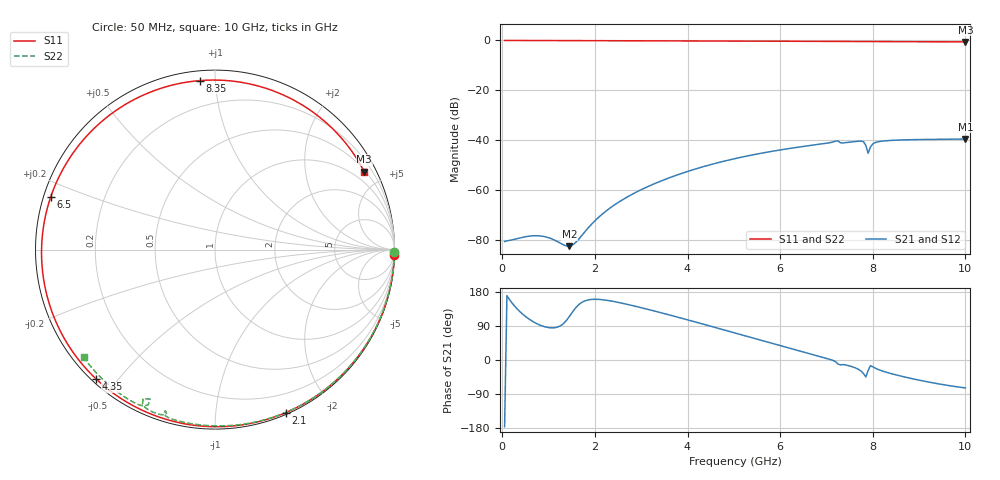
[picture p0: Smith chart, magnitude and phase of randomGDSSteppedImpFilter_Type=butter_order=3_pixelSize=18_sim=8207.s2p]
! freq	dB(S11)	phase(S11)	dB(S12)	phase(S12)
!  dB(S21)	phase(S21)	dB(S22)	phase(S22)
!S-par simulation data
#  GHz  S  DB  R 50
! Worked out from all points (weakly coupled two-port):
!   200 points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, 50 MHz to 10 GHz, reference 50 ohm
!   highest |S21| = -39.50 dB at 10 GHz (marker M1); lowest = -82.4 dB at 1.45 GHz (marker M2)
!   lowest |S11| = -0.6 dB at 10 GHz (marker M3), VSWR 31.20, Z = 27.7 + j200 ohm
!   |S11| at or under -10 dB: nowhere
!   |S22| runs from -0.8 to 0.0 dB; largest |S21 - S12| = 0
!   S11 on the Smith chart (normalised r, x): 50 MHz: 0, -70; 2.1 GHz: 0.02, -1.53; 4.35 GHz: 0.01, -0.44; 6.5 GHz: 0.02, +0.16; 8.35 GHz: 0.05, +0.91; 10 GHz: 0.55, +4.00
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0.05  -0.00 -1.6  -80.57 -176.1  -80.57 -176.1  -0.00 -0.8
0.7  -0.02 -22.7  -78.26 98.8  -78.26 98.8  -0.01 -11.4
1.45  -0.06 -46.4  -82.45 115.1  -82.45 115.1  -0.03 -23.4
1.65  -0.07 -52.6  -79.64 146.0  -79.64 146.0  -0.03 -26.5
1.75  -0.07 -55.7  -77.40 154.2  -77.40 154.2  -0.04 -28.1
2.1  -0.09 -66.5  -70.54 159.8  -70.54 159.8  -0.04 -33.6
2.65  -0.11 -83.0  -63.25 148.2  -63.25 148.2  -0.05 -42.1
3.4  -0.14 -105.0  -56.53 125.6  -56.53 125.6  -0.07 -53.5
4.35  -0.19 -132.5  -50.54 94.3  -50.54 94.3  -0.10 -67.4
5.05  -0.23 -152.8  -47.25 70.4  -47.25 70.4  -0.12 -77.3
5.8  -0.29 -175.4  -44.50 44.8  -44.50 44.8  -0.15 -87.6
6.5  -0.34 162.3  -42.49 21.1  -42.49 21.1  -0.18 -97.1
6.7  -0.36 155.7  -41.98 14.4  -41.98 14.4  -0.20 -99.8
7.2  -0.40 138.4  -40.32 -4.7  -40.32 -4.7  -0.38 -107.2
7.35  -0.42 133.1  -41.09 -12.2  -41.09 -12.2  -0.33 -107.2
7.75  -0.45 118.3  -40.35 -29.4  -40.35 -29.4  -0.35 -114.0
7.85  -0.46 114.5  -42.07 -44.8  -42.07 -44.8  -0.71 -115.8
7.9  -0.46 112.6  -45.21 -27.6  -45.21 -27.6  -0.84 -113.5
8  -0.47 108.8  -41.45 -18.1  -41.45 -18.1  -0.40 -114.3
8.35  -0.49 95.0  -40.11 -34.3  -40.11 -34.3  -0.32 -119.8
9.15  -0.53 62.4  -39.68 -56.9  -39.68 -56.9  -0.38 -130.0
10  -0.56 27.6  -39.50 -73.7  -39.50 -73.7  -0.48 -140.7
